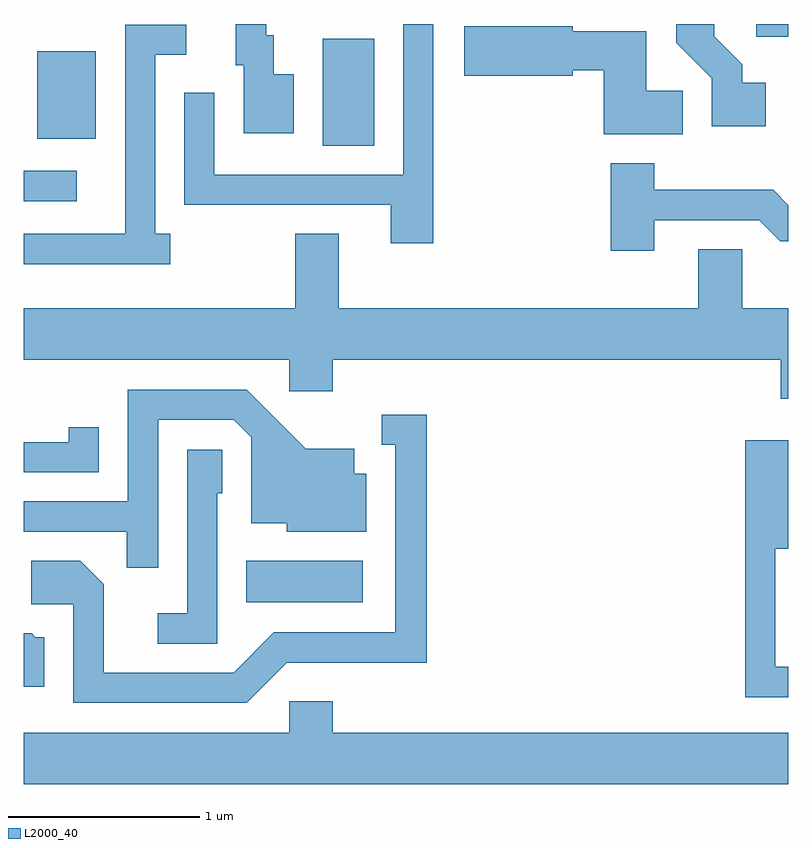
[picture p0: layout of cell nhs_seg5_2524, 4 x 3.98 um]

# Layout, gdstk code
import gdstk
lib = gdstk.Library(unit=1e-6, precision=1e-09)
def R(c, l, rs):  # rectangles x0, y0, x1, y1
    for r in rs: c.add(gdstk.rectangle(r[:2], r[2:], *l))
def P(c, l, *ps):  # polygons
    for p in ps: c.add(gdstk.Polygon(p, *l))
L2000_40 = (2000, 40)

nhs_seg5_2524 = lib.new_cell('nhs_seg5_2524')
R(nhs_seg5_2524, L2000_40, [(260.776,1491.046,261.384,1491.264), (259.611,1493.146,259.888,1493.304), (261.176,1493.436,261.444,1493.994), (259.681,1493.471,259.989,1493.929), (263.443,1494.006,263.611,1494.072)])
P(nhs_seg5_2524, L2000_40, [(261.754,1494.072),(261.596,1494.072),(261.596,1493.284),(260.609,1493.284),(260.609,1493.713),(260.451,1493.713),(260.451,1493.126),(261.531,1493.126),(261.531,1492.926),(261.754,1492.926)],
  [(261.024,1493.809),(260.919,1493.809),(260.919,1494.014),(260.879,1494.014),(260.879,1494.072),(260.721,1494.072),(260.721,1493.856),(260.761,1493.856),(260.761,1493.501),(261.024,1493.501)],
  [(263.494,1493.764),(263.369,1493.764),(263.369,1493.862),(263.224,1494.007),(263.224,1494.072),(263.026,1494.072),(263.026,1493.974),(263.211,1493.789),(263.211,1493.536),(263.494,1493.536)],
  [(260.378,1492.974),(260.299,1492.974),(260.299,1493.911),(260.462,1493.911),(260.462,1494.069),(260.141,1494.069),(260.141,1492.974),(259.611,1492.974),(259.611,1492.816),(260.378,1492.816)],
  [(263.059,1493.724),(262.869,1493.724),(262.869,1494.034),(262.484,1494.034),(262.484,1494.059),(261.916,1494.059),(261.916,1493.801),(262.484,1493.801),(262.484,1493.831),(262.646,1493.831),(262.646,1493.496),(263.059,1493.496)],
  [(262.909,1493.046),(263.459,1493.046),(263.569,1492.936),(263.611,1492.936),(263.611,1493.125),(263.532,1493.204),(262.909,1493.204),(262.909,1493.344),(262.681,1493.344),(262.681,1492.886),(262.909,1492.886)],
  [(263.611,1492.584),(263.369,1492.584),(263.369,1492.894),(263.141,1492.894),(263.141,1492.584),(261.259,1492.584),(261.259,1492.974),(261.031,1492.974),(261.031,1492.584),(259.611,1492.584),(259.611,1492.316),(261.001,1492.316),(261.001,1492.151),(261.229,1492.151),(261.229,1492.316),(263.571,1492.316),(263.571,1492.111),(263.611,1492.111)],
  [(260.314,1492.001),(260.709,1492.001),(260.801,1491.909),(260.801,1491.461),(260.986,1491.461),(260.986,1491.416),(261.404,1491.416),(261.404,1491.719),(261.339,1491.719),(261.339,1491.849),(261.087,1491.849),(260.777,1492.159),(260.156,1492.159),(260.156,1491.574),(259.611,1491.574),(259.611,1491.416),(260.151,1491.416),(260.151,1491.228),(260.314,1491.228)],
  [(260.986,1490.731),(261.719,1490.731),(261.719,1492.029),(261.483,1492.029),(261.483,1491.871),(261.556,1491.871),(261.556,1490.889),(260.919,1490.889),(260.709,1490.679),(260.029,1490.679),(260.029,1491.142),(259.907,1491.264),(259.651,1491.264),(259.651,1491.036),(259.871,1491.036),(259.871,1490.521),(260.777,1490.521)],
  [(260.004,1491.963),(259.846,1491.963),(259.846,1491.884),(259.611,1491.884),(259.611,1491.726),(260.004,1491.726)],
  [(263.611,1490.709),(263.544,1490.709),(263.544,1491.326),(263.611,1491.326),(263.611,1491.894),(263.386,1491.894),(263.386,1490.551),(263.611,1490.551)],
  [(260.624,1491.616),(260.649,1491.616),(260.649,1491.844),(260.466,1491.844),(260.466,1490.989),(260.313,1490.989),(260.313,1490.831),(260.624,1490.831)],
  [(259.719,1490.864),(259.671,1490.864),(259.652,1490.884),(259.611,1490.884),(259.611,1490.606),(259.719,1490.606)],
  [(263.611,1490.364),(261.229,1490.364),(261.229,1490.529),(261.001,1490.529),(261.001,1490.364),(259.611,1490.364),(259.611,1490.096),(263.611,1490.096)])

lib.write_gds('nhs_seg5_2524.gds')
